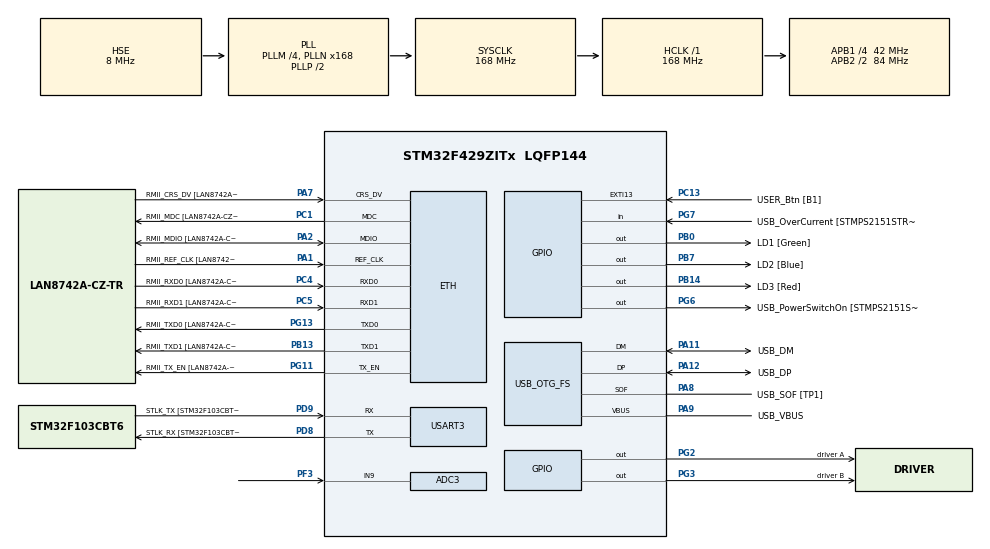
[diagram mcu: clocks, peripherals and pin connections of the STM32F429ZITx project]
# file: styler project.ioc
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ADC3.Channel-0\#ChannelRegularConversion=ADC_CHANNEL_9
ADC3.NbrOfConversionFlag=1
ADC3.Rank-0\#ChannelRegularConversion=1
ADC3.SamplingTime-0\#ChannelRegularConversion=ADC_SAMPLETIME_480CYCLES
ETH.MediaInterface=HAL_ETH_RMII_MODE
ETH.PHY_Name=LAN8742A_PHY_ADDRESS
ETH.PHY_Value=0
ETH.PhyAddress=0
Mcu.Family=STM32F4
Mcu.Name=STM32F429ZITx
Mcu.Package=LQFP144
NVIC.PriorityGroup=NVIC_PRIORITYGROUP_4
PA1.GPIO_Label=RMII_REF_CLK [LAN8742A-CZ-TR_REFCLK0]
PA1.Mode=RMII
PA1.Signal=ETH_REF_CLK
PA10.GPIO_Label=USB_ID
PA10.Signal=USB_OTG_FS_ID
PA11.GPIO_Label=USB_DM
PA11.Mode=Device_Only
PA11.Signal=USB_OTG_FS_DM
PA12.GPIO_Label=USB_DP
PA12.Mode=Device_Only
PA12.Signal=USB_OTG_FS_DP
PA13.GPIO_Label=TMS
PA13.Mode=Serial_Wire
PA13.Signal=SYS_JTMS-SWDIO
PA14.GPIO_Label=TCK
PA14.Mode=Serial_Wire
PA14.Signal=SYS_JTCK-SWCLK
PA2.GPIO_Label=RMII_MDIO [LAN8742A-CZ-TR_MDIO]
PA2.Mode=RMII
PA2.Signal=ETH_MDIO
PA7.GPIO_Label=RMII_CRS_DV [LAN8742A-CZ-TR_CRS_DV]
PA7.Mode=RMII
PA7.Signal=ETH_CRS_DV
PA8.GPIO_Label=USB_SOF [TP1]
PA8.Mode=Activate_SOF_FS
PA8.Signal=USB_OTG_FS_SOF
PA9.GPIO_Label=USB_VBUS
PA9.Mode=Activate_VBUS
PA9.Signal=USB_OTG_FS_VBUS
PB0.GPIO_Label=LD1 [Green]
PB0.Signal=GPIO_Output
PB13.GPIO_Label=RMII_TXD1 [LAN8742A-CZ-TR_TXD1]
PB13.Mode=RMII
PB13.Signal=ETH_TXD1
PB14.GPIO_Label=LD3 [Red]
PB14.Signal=GPIO_Output
PB7.GPIO_Label=LD2 [Blue]
PB7.Signal=GPIO_Output
PC1.GPIO_Label=RMII_MDC [LAN8742A-CZ-TR_MDC]
PC1.Mode=RMII
PC1.Signal=ETH_MDC
PC13.GPIO_Label=USER_Btn [B1]
PC13.Signal=GPXTI13
PC14/OSC32_IN.Mode=LSE-External-Oscillator
PC14/OSC32_IN.Signal=RCC_OSC32_IN
PC15/OSC32_OUT.Mode=LSE-External-Oscillator
PC15/OSC32_OUT.Signal=RCC_OSC32_OUT
PC4.GPIO_Label=RMII_RXD0 [LAN8742A-CZ-TR_RXD0]
PC4.Mode=RMII
PC4.Signal=ETH_RXD0
PC5.GPIO_Label=RMII_RXD1 [LAN8742A-CZ-TR_RXD1]
PC5.Mode=RMII
PC5.Signal=ETH_RXD1
PD8.GPIO_Label=STLK_RX [STM32F103CBT6_PA3]
PD8.Mode=Asynchronous
PD8.Signal=USART3_TX
PD9.GPIO_Label=STLK_TX [STM32F103CBT6_PA2]
PD9.Mode=Asynchronous
PD9.Signal=USART3_RX
PF3.Mode=IN9
PF3.Signal=ADC3_IN9
PG11.GPIO_Label=RMII_TX_EN [LAN8742A-CZ-TR_TXEN]
PG11.Mode=RMII
PG11.Signal=ETH_TX_EN
PG13.GPIO_Label=RMII_TXD0 [LAN8742A-CZ-TR_TXD0]
PG13.Mode=RMII
PG13.Signal=ETH_TXD0
PG2.GPIO_Label=driver A
PG2.Signal=GPIO_Output
PG3.GPIO_Label=driver B
PG3.Signal=GPIO_Output
PG6.GPIO_Label=USB_PowerSwitchOn [STMPS2151STR_EN]
PG6.Signal=GPIO_Output
PG7.GPIO_Label=USB_OverCurrent [STMPS2151STR_FAULT]
PG7.Signal=GPIO_Input
PH0/OSC_IN.GPIO_Label=MCO [STM32F103CBT6_PA8]
PH0/OSC_IN.Mode=HSE-External-Clock-Source
PH0/OSC_IN.Signal=RCC_OSC_IN
PH1/OSC_OUT.Mode=HSE-External-Clock-Source
PH1/OSC_OUT.Signal=RCC_OSC_OUT
ProjectManager.HeapSize=0x200
ProjectManager.StackSize=0x400
ProjectManager.TargetToolchain=STM32CubeIDE
RCC.48MHZClocksFreq_Value=48000000
RCC.AHBFreq_Value=168000000
RCC.APB1CLKDivider=RCC_HCLK_DIV4
RCC.APB1Freq_Value=42000000
RCC.APB1TimFreq_Value=84000000
RCC.APB2CLKDivider=RCC_HCLK_DIV2
RCC.APB2Freq_Value=84000000
RCC.APB2TimCLKDivider=2
RCC.APB2TimFreq_Value=168000000
RCC.CortexFreq_Value=168000000
RCC.HCLKFreq_Value=168000000
RCC.HSE_VALUE=8000000
RCC.HSI_VALUE=16000000
RCC.PLLM=4
RCC.PLLMUL=RCC_PLL_MUL9
RCC.PLLN=168
RCC.PLLQ=7
RCC.PRESCALERUSB=RCC_USBCLKSOURCE_PLL_DIV1_5
RCC.SYSCLKFreq_VALUE=168000000
RCC.SYSCLKSource=RCC_SYSCLKSOURCE_PLLCLK
RCC.SYSCLKSourceVirtual=RCC_SYSCLKSOURCE_PLLCLK
RCC.USBFreq_Value=48000000
RCC.VCOOutputFreq_Value=336000000
USART3.VirtualMode=VM_ASYNC
USB_OTG_FS.VirtualMode=Device_Only
board=NUCLEO-F429ZI

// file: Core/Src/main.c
/* USER CODE BEGIN Header */
/**
  ******************************************************************************
  * @file           : main.c
  * @brief          : Main program body
  ******************************************************************************
  * @attention
  *
  * Copyright (c) 2024 STMicroelectronics.
  * All rights reserved.
  *
  * This software is licensed under terms that can be found in the LICENSE file
  * in the root directory of this software component.
  * If no LICENSE file comes with this software, it is provided AS-IS.
  *
  ******************************************************************************
  */
/* USER CODE END Header */
#include "main.h"
#include "adc.h"
#include "eth.h"
#include "usart.h"
#include "usb_otg.h"
#include "gpio.h"

void SystemClock_Config(void);

int main(void)
{

  /* MCU Configuration--------------------------------------------------------*/

  /* Reset of all peripherals, Initializes the Flash interface and the Systick. */
  HAL_Init();

  /* Configure the system clock */
  SystemClock_Config();

  /* Initialize all configured peripherals */
  MX_GPIO_Init();
  MX_ETH_Init();
  MX_USART3_UART_Init();
  MX_USB_OTG_FS_PCD_Init();
  MX_ADC3_Init();
  /* USER CODE BEGIN 2 */

  char water_diver_A = GPIO_PIN_2; //gpiog
  char water_diver_B = GPIO_PIN_3; //gpiog

  void water_spray()//물 분사
  {
	  HAL_GPIO_WritePin(GPIOG, water_diver_A, 1);
 	  HAL_GPIO_WritePin(GPIOG, water_diver_B, 0);
 	  HAL_Delay(10000);

 	  HAL_GPIO_WritePin(GPIOG, water_diver_A, 0);
 	  HAL_GPIO_WritePin(GPIOG, water_diver_B, 0);
 	  HAL_Delay(3000);
  }

  void water_level()//수위측정
  {
	  HAL_ADC_Start(&hadc3);
	  HAL_ADC_PollForConversion(&hadc3, HAL_MAX_DELAY);
	  int value = HAL_ADC_GetValue(&hadc3);
	  HAL_ADC_Stop(&hadc3);

	  char buffer[50];
	  int len = sprintf(buffer, "%d\r\n", value);
	  HAL_UART_Transmit(&huart3, (uint8_t*)buffer, len, HAL_MAX_DELAY);
	  HAL_Delay(1000);
  }
  /* USER CODE END 2 */

  /* Infinite loop */
  while (1)
  {

  }
}

void SystemClock_Config(void)
{
  RCC_OscInitTypeDef RCC_OscInitStruct = {0};
  RCC_ClkInitTypeDef RCC_ClkInitStruct = {0};

  /** Configure the main internal regulator output voltage
  */
  __HAL_RCC_PWR_CLK_ENABLE();
  __HAL_PWR_VOLTAGESCALING_CONFIG(PWR_REGULATOR_VOLTAGE_SCALE1);

  /** Initializes the RCC Oscillators according to the specified parameters
  * in the RCC_OscInitTypeDef structure.
  */
  RCC_OscInitStruct.OscillatorType = RCC_OSCILLATORTYPE_HSE;
  RCC_OscInitStruct.HSEState = RCC_HSE_BYPASS;
  RCC_OscInitStruct.PLL.PLLState = RCC_PLL_ON;
  RCC_OscInitStruct.PLL.PLLSource = RCC_PLLSOURCE_HSE;
  RCC_OscInitStruct.PLL.PLLM = 4;
  RCC_OscInitStruct.PLL.PLLN = 168;
  RCC_OscInitStruct.PLL.PLLP = RCC_PLLP_DIV2;
  RCC_OscInitStruct.PLL.PLLQ = 7;
  if (HAL_RCC_OscConfig(&RCC_OscInitStruct) != HAL_OK)
  {
    Error_Handler();
  }

  /** Initializes the CPU, AHB and APB buses clocks
  */
  RCC_ClkInitStruct.ClockType = RCC_CLOCKTYPE_HCLK|RCC_CLOCKTYPE_SYSCLK
                              |RCC_CLOCKTYPE_PCLK1|RCC_CLOCKTYPE_PCLK2;
  RCC_ClkInitStruct.SYSCLKSource = RCC_SYSCLKSOURCE_PLLCLK;
  RCC_ClkInitStruct.AHBCLKDivider = RCC_SYSCLK_DIV1;
  RCC_ClkInitStruct.APB1CLKDivider = RCC_HCLK_DIV4;
  RCC_ClkInitStruct.APB2CLKDivider = RCC_HCLK_DIV2;

  if (HAL_RCC_ClockConfig(&RCC_ClkInitStruct, FLASH_LATENCY_5) != HAL_OK)
  {
    Error_Handler();
  }
}

void Error_Handler(void)
{
  __disable_irq();
  while (1)
  {
  }
}
